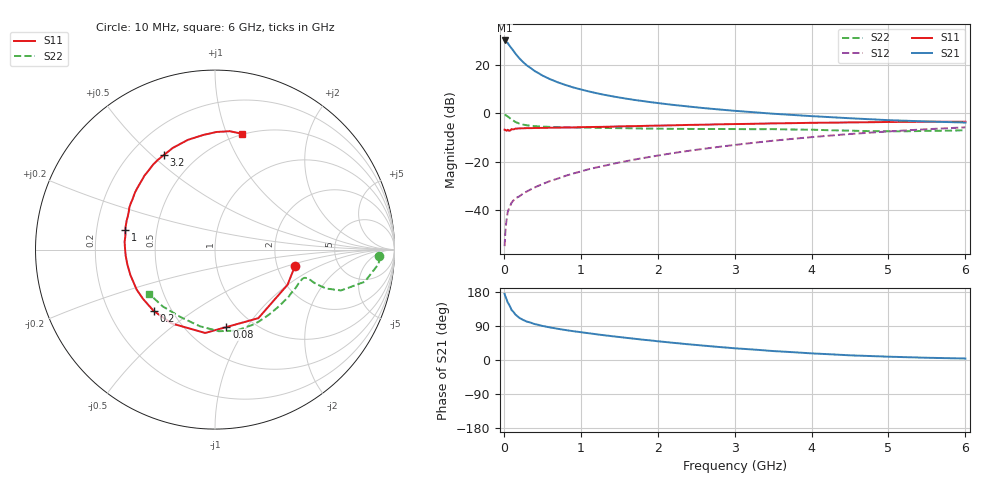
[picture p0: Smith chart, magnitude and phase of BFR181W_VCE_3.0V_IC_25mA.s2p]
! Infineon Technologies  Discrete & RF Semiconductors
! BFR181W
! VCE =  3.0 V,  IC =  25 mA
! Common Emitter S-Parameters:  Jan 2017
# GHz  S  MA  R  50
!  f  S11  S21  S12  S22
! GHz  MAG  ANG  MAG  ANG  MAG  ANG  MAG  ANG
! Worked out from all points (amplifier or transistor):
!   77 points, 10 MHz to 6 GHz, reference 50 ohm
!   highest |S21| = 29.9 dB at 10 MHz (marker M1)
!   |S21| within 3 dB of that: start of sweep to 94.04 MHz
!   unconditionally stable (mu >= 1): start of sweep to 11.66 MHz; 298.4 MHz to 2.723 GHz
!   at 130 MHz: K = 0.62, MSG = 30.7 dB, |S12| = -35.9 dB
!   at 2.2 GHz: K = 1.09, MAG = 8.1 dB, |S12| = -16.5 dB
!   at 6 GHz: K = 0.97, MSG = 1.0 dB, |S12| = -5.9 dB
!   S11 on the Smith chart (normalised r, x): 10 MHz: 2.50, -0.59; 80 MHz: 0.76, -0.81; 200 MHz: 0.40, -0.36; 1 GHz: 0.33, +0.09; 3.2 GHz: 0.33, +0.55; 6 GHz: 0.49, +1.14
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0.01  0.4545 -11.9  31.44 174.6  0.0018 75.5  0.9171 -2.3
0.02  0.4492 -25.8  30.76 168.0  0.0036 92.1  0.9152 -5.0
0.05  0.452 -57.7  27.84 152.0  0.009 71.1  0.8524 -12.2
0.08  0.4362 -81.6  23.78 141.3  0.012 63.0  0.7823 -15.5
0.1  0.4677 -96.7  21.68 132.1  0.0141 59.6  0.7372 -18.0
0.15  0.4771 -120.4  16.91 120.0  0.0175 56.9  0.6569 -19.3
0.2  0.4831 -135.0  13.56 111.5  0.0191 58.5  0.6082 -18.9
0.25  0.486 -145.4  11.27 105.7  0.0219 58.1  0.5789 -18.4
0.3  0.4901 -152.9  9.584 101.3  0.0242 59.3  0.5586 -17.7
0.4  0.4922 -163.2  7.382 94.8  0.0292 64.4  0.5374 -17.2
0.5  0.4955 -170.5  5.961 90.0  0.0343 66.6  0.5256 -17.4
0.6  0.4988 -176.2  5.012 86.0  0.0396 68.9  0.5187 -17.8
0.7  0.5015 179.1  4.319 82.4  0.0445 71.8  0.5133 -18.6
1  0.5115 167.9  3.074 73.4  0.0624 75.9  0.5016 -22.3
1.1  0.5148 164.7  2.805 70.7  0.0693 76.9  0.4999 -23.8
1.5  0.5313 154.0  2.094 60.7  0.0957 78.6  0.4883 -30.5
2.1  0.555 139.8  1.541 47.5  0.141 77.6  0.4746 -42.9
3.1  0.5961 120.1  1.084 29.6  0.2296 71.4  0.4665 -66.2
3.2  0.5994 118.2  1.054 28.2  0.2393 70.6  0.4654 -68.5
4.1  0.6313 102.3  0.848 16.5  0.3288 61.6  0.4491 -90.0
5.1  0.6565 88.0  0.705 8.2  0.4272 49.6  0.4211 -120.3
6  0.6625 76.7  0.637 3.9  0.5081 38.2  0.4425 -146.4
